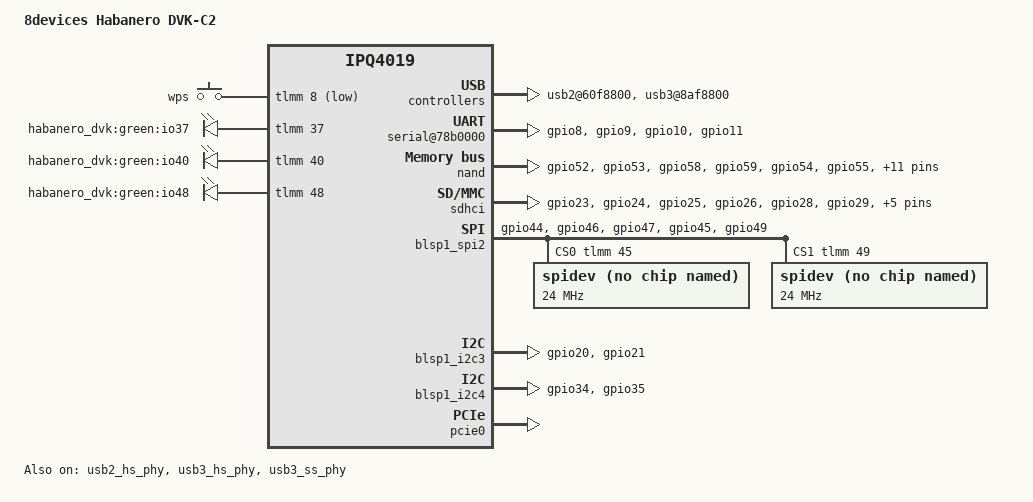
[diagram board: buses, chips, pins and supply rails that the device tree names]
// SPDX-License-Identifier: GPL-2.0-or-later OR MIT

#include "qcom-ipq4019-habanero.dtsi"

/ {
	model = "8devices Habanero DVK-C2";
	compatible = "8dev,habanero-dvk-c2", "8dev,habanero", "qcom,ipq4019";

	soc {
		usb2@60f8800 {
			status = "okay";
		};

		usb3@8af8800 {
			status = "okay";
		};

		serial@78b0000 {
			pinctrl-0 = <&serial_1_pins>;
			pinctrl-names = "default";
			status = "okay";
		};

		nand: qpic-nand@79b0000 {
			pinctrl-0 = <&nand_pins>;
			pinctrl-names = "default";
			status = "okay";
		};
	};

	gpio-keys {
		compatible = "gpio-keys";

		wps {
			label = "wps";
			gpios = <&tlmm 8 GPIO_ACTIVE_LOW>;
			linux,code = <KEY_WPS_BUTTON>;
		};
	};

	gpio-leds {
		compatible = "gpio-leds";

		io37 {
			label = "habanero_dvk:green:io37";
			gpios = <&tlmm 37 GPIO_ACTIVE_HIGH>;
		};
		io40 {
			label = "habanero_dvk:green:io40";
			gpios = <&tlmm 40 GPIO_ACTIVE_HIGH>;
		};
		// Disabled in this config, due to clash with SPI1_MOSI
		//io46 {
		//	label = "habanero_dvk:green:io46";
		//	gpios = <&tlmm 46 GPIO_ACTIVE_HIGH>;
		//};
		io48 {
			label = "habanero_dvk:green:io48";
			gpios = <&tlmm 48 GPIO_ACTIVE_HIGH>;
		};
	};
};

&sdhci {
	pinctrl-0 = <&sd_pins>;
	pinctrl-names = "default";
	cd-gpios = <&tlmm 22 0x1>;
	vqmmc-supply = <&vqmmc>;
	status = "okay";
};

&blsp1_spi2 {
	pinctrl-0 = <&spi_1_pins>;
	pinctrl-names = "default";
	status = "okay";
	cs-gpios = <&tlmm 45 GPIO_ACTIVE_HIGH>, <&tlmm 49 GPIO_ACTIVE_HIGH>;

	spidev@0 {
		compatible = "spidev";
		spi-max-frequency = <24000000>;
		reg = <0>;
	};
	spidev@1 {
		compatible = "spidev";
		spi-max-frequency = <24000000>;
		reg = <1>;
	};
};

&blsp1_i2c3 {
	pinctrl-0 = <&i2c_0_pins>;
	pinctrl-names = "default";
	status = "ok";
};

&blsp1_i2c4 {
	pinctrl-0 = <&i2c_1_pins>;
	pinctrl-names = "default";
	status = "ok";
};

&pcie0 {
	perst-gpio = <&tlmm 38 GPIO_ACTIVE_LOW>;
	wake-gpio = <&tlmm 50 GPIO_ACTIVE_LOW>;
	status = "okay";
};

&tlmm {
	serial_1_pins: serial1_pinmux {
		pinmux {
			pins = "gpio8", "gpio9", "gpio10", "gpio11";
			function = "blsp_uart1";
			bias-disable;
		};
	};

	spi_1_pins: spi_1_pinmux {
		pinmux {
			function = "blsp_spi1";
			pins = "gpio44", "gpio46", "gpio47";
			drive-strength = <12>;
			bias-disable;
		};
		pinmux_cs {
			function = "gpio";
			pins = "gpio45", "gpio49";
			drive-strength = <2>;
			bias-disable;
			output-high;
		};
	};

	i2c_0_pins: i2c_0_pinmux {
		pinmux {
			function = "blsp_i2c0";
			pins = "gpio20", "gpio21";
		};
		pinconf {
			pins = "gpio20", "gpio21";
			drive-strength = <16>;
			bias-disable;
		};
	};

	i2c_1_pins: i2c_1_pinmux {
		pinmux {
			function = "blsp_i2c1";
			pins = "gpio34", "gpio35";
		};
		pinconf {
			pins = "gpio34", "gpio35";
			drive-strength = <16>;
			bias-disable;
		};
	};

	nand_pins: nand_pins {
		pullups {
			pins =  "gpio52", "gpio53", "gpio58", "gpio59";
			function = "qpic";
			bias-pull-up;
		};

		pulldowns {
			pins = "gpio54", "gpio55", "gpio56", "gpio57",
				"gpio60", "gpio62", "gpio63", "gpio64",
				"gpio65", "gpio66", "gpio67", "gpio68",
				"gpio69";
			function = "qpic";
			bias-pull-down;
		};
	};

	sd_pins: sd_pins {
		pinmux {
			function = "sdio";
			pins = "gpio23", "gpio24", "gpio25", "gpio26",
				"gpio28", "gpio29", "gpio30", "gpio31";
			drive-strength = <10>;
		};
		pinmux_sd_clk {
			function = "sdio";
			pins = "gpio27";
			drive-strength = <16>;
		};
		pinmux_sd7 {
			function = "sdio";
			pins = "gpio32";
			drive-strength = <10>;
			bias-disable;
		};
	};
};

&usb2_hs_phy {
	status = "okay";
};

&usb3_hs_phy {
	status = "okay";
};

&usb3_ss_phy {
	status = "okay";
};
